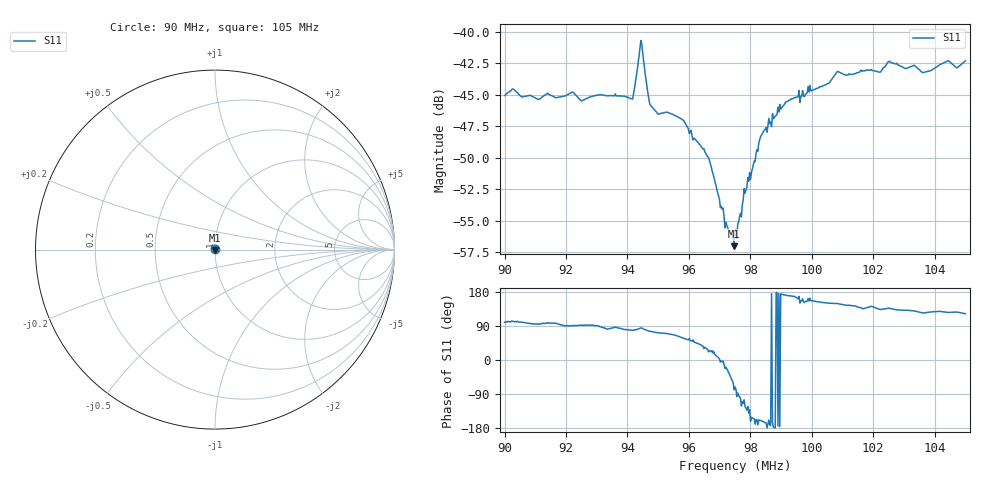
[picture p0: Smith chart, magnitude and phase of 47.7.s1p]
# HZ S RI R 50
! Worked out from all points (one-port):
!   505 points, 90 MHz to 105 MHz, reference 50 ohm
!   lowest |S11| = -57.0 dB at 97.47 MHz (marker M1), VSWR 1.00, Z = 50 - j0.138 ohm
!   |S11| at or under -10 dB: start of sweep to end of sweep
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9e7  -0.00092 0.00551
9.026786e7  -0.00119 0.00581
9.107143e7  -0.000442 0.00539
9.187501e7  -0.00019 0.00553
9.375001e7  0.000612 0.00553
9.416668e7  0.00109 0.00529
9.443454e7  0.000836 0.0092
9.449406e7  0.00101 0.00822
9.467263e7  0.00128 0.00548
9.476192e7  0.00131 0.00492
9.500002e7  0.00149 0.00447
9.562502e7  0.00205 0.00412
9.660716e7  0.00281 0.00152
9.723217e7  0.00157 -0.000666
9.747026e7  0.000282 -0.00138
9.750002e7  0.000515 -0.00151
9.785717e7  -0.00144 -0.00186
9.836312e7  -0.00367 -0.00133
9.895836e7  -0.00514 -0.000386
9.937503e7  -0.0053 0.00114
1.00506e8  -0.0054 0.00307
1.008334e8  -0.00597 0.00358
1.0125e8  -0.00546 0.004
1.022024e8  -0.00478 0.00499
1.025298e8  -0.00557 0.00524
1.03125e8  -0.00473 0.00542
1.036608e8  -0.00391 0.00569
1.05e8  -0.00407 0.0065
